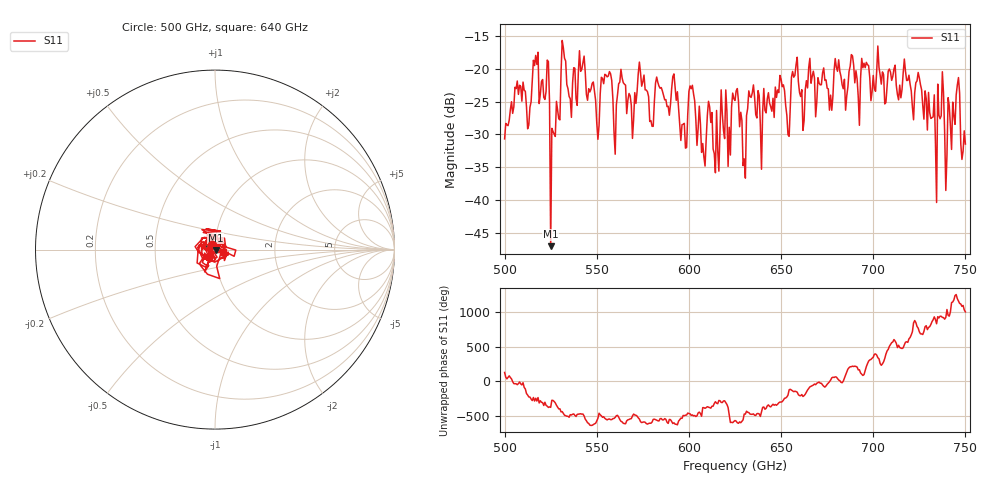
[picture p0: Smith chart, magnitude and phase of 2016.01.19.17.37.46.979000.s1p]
!Created with skrf (http://scikit-rf.org).
# GHz S RI R 50.0
!freq ReS11 ImS11
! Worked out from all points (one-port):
!   401 points, 500 GHz to 750 GHz, reference 50 ohm
!   lowest |S11| = -46.9 dB at 525 GHz (marker M1), VSWR 1.01, Z = 50.4 - j0.143 ohm
!   |S11| at or under -10 dB: start of sweep to end of sweep
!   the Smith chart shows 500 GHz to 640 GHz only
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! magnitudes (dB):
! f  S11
! 500 GHz  -30.7
! 506.9 GHz  -21.9
! 513.1 GHz  -28.6
! 516.9 GHz  -18.0
! 523.1 GHz  -18.7
! 525 GHz  -46.9
! 526.2 GHz  -29.5
! 531.2 GHz  -15.7
! 535.6 GHz  -24.6
! 541.9 GHz  -20.1
! 550.6 GHz  -30.7
! 562.5 GHz  -22.1
! 593.8 GHz  -23.5
! 608.1 GHz  -33.4
! 611.2 GHz  -25.8
! 615 GHz  -26.4
! 625 GHz  -24.8
! 630 GHz  -33.7
! 633.8 GHz  -24.4
! 640 GHz  -26.6
! 650.6 GHz  -22.7
! 653.8 GHz  -30.0
! 656.2 GHz  -20.4
! 687.5 GHz  -19.6
! 718.8 GHz  -21.8
! 733.1 GHz  -24.0
! 745.6 GHz  -22.5
! 750 GHz  -31.4
